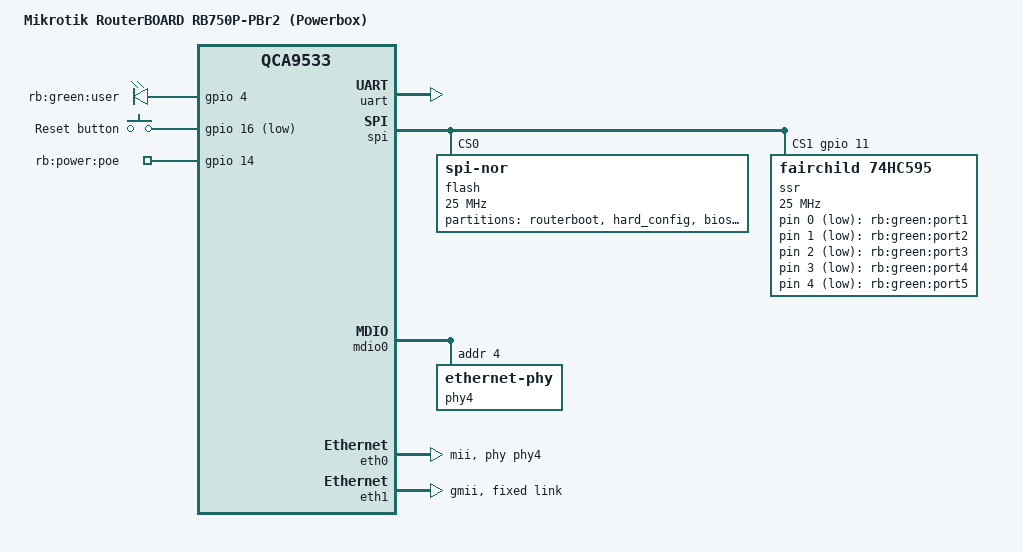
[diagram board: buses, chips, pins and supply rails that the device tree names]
// SPDX-License-Identifier: GPL-2.0
/dts-v1/;

#include <dt-bindings/gpio/gpio.h>
#include <dt-bindings/input/input.h>

#include "qca9533.dtsi"

/ {
	compatible = "mikrotik,rb750p-pbr2", "qca,qca9533";
	model = "Mikrotik RouterBOARD RB750P-PBr2 (Powerbox)";

	chosen {
		bootargs = "console=ttyS0,115200n8";
	};

	aliases {
		led-status = &user;
	};

	leds {
		compatible = "gpio-leds";
		
		user: user {
			label = "rb:green:user";
			gpios = <&gpio 4 GPIO_ACTIVE_HIGH>;
			default-state = "on";
		};

		lan1 {
			label = "rb:green:port1";
			gpios = <&ssr 0 GPIO_ACTIVE_LOW>;
			default-state = "off";
		};

		lan2 {
			label = "rb:green:port2";
			gpios = <&ssr 1 GPIO_ACTIVE_LOW>;
			default-state = "off";
		};

		lan3 {
			label = "rb:green:port3";
			gpios = <&ssr 2 GPIO_ACTIVE_LOW>;
			default-state = "off";
		};

		lan4 {
			label = "rb:green:port4";
			gpios = <&ssr 3 GPIO_ACTIVE_LOW>;
			default-state = "off";
		};

		lan5 {
			label = "rb:green:port5";
			gpios = <&ssr 4 GPIO_ACTIVE_LOW>;
			default-state = "off";
		};
	};

	keys {
		compatible = "gpio-keys";
		#address-cells = <1>;
		#size-cells = <0>;

		reset {
			label = "Reset button";
			linux,code = <KEY_RESTART>;
			gpios = <&gpio 16 GPIO_ACTIVE_LOW>;
			debounce-interval = <60>;
		};
	};

	gpio-export {
		compatible = "gpio-export";
		#size-cells = <0>;

		gpio_poe_power {
			gpio-export,name = "rb:power:poe";
			gpio-export,output = <0>;
			gpios = <&gpio 14 GPIO_ACTIVE_HIGH>;
		};
	};
};

&uart {
	status = "okay";
};

&spi {
	status = "okay";
	num-cs = <2>;
	cs-gpios = <0>, <&gpio 11 0>;

	flash@0 {
		#address-cells = <1>;
		#size-cells = <1>;
		compatible = "jedec,spi-nor";
		reg = <0>;
		spi-max-frequency = <25000000>;

		partitions {
			compatible = "fixed-partitions";
			#address-cells = <1>;
			#size-cells = <1>;

			partition@0 {
				label = "routerboot";
				reg = <0x000000 0x00e000>;
				read-only;
			};

			hard-config: partition@e000 {
				label = "hard_config";
				reg = <0x00e000 0x001000>;
				read-only;
			};

			partition@f000 {
				label = "bios";
				reg = <0x00f000 0x001000>;
				read-only;
			};

			partition@10000 {
				label = "routerboot2";
				reg = <0x010000 0x00f000>;
				read-only;
			};

			partition@1f000 {
				label = "soft_config";
				reg = <0x01f000 0x001000>;
				read-only;
			};

			partition@20000 {
				label = "firmware";
				reg = <0x020000 0xfe0000>;
			};
		};
	};

	ssr: hch595@1 {
		compatible = "fairchild,74hc595";
		reg = <1>;
		gpio-controller;
		#gpio-cells = <2>;
		registers-number = <1>;
		spi-max-frequency = <25000000>;
	};
};

&mdio0 {
	status = "okay";

	phy4: ethernet-phy@4 {
		reg = <4>;
		phy-mode = "mii";
	};
};

&eth0 {
	status = "okay";

	//mtd-mac-address = <&hard-config 0x0>;
	phy-handle = <&phy4>;
	phy-mode = "mii";
};

&eth1 {
	status = "okay";

	//mtd-mac-address = <&hard-config 0x6>;
	phy-mode = "gmii";

	fixed-link {
		speed = <1000>;
		full-duplex;
	};
};
